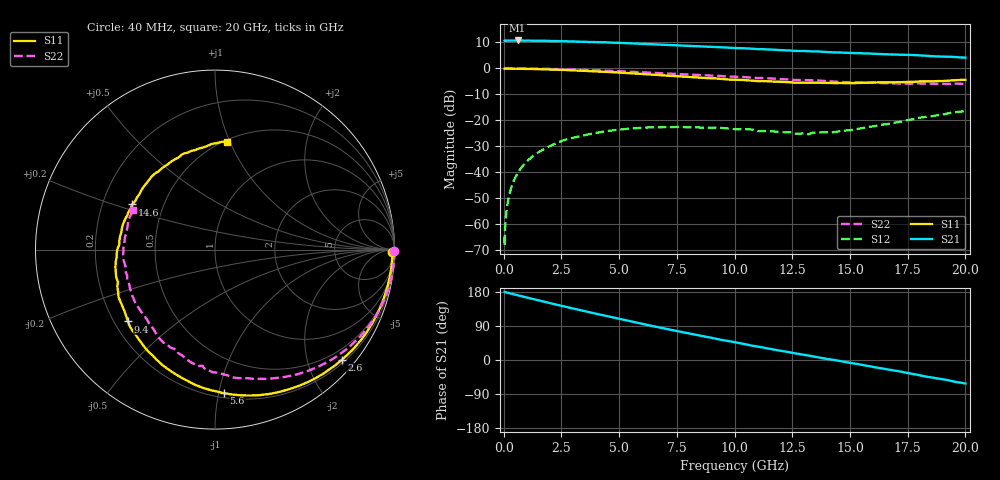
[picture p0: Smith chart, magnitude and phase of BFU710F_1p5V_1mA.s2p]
! Filename:  P:\Prog\Test\Noise\ATS_data\Testdata_Net\BFU710\BFU710_2W_A1_1.5V1mA_D.s2p
! Date/Time: Fri 29/Apr/2011 13:25:27
! BFU710_2W_A1_1.5V1mA
! bias mode 1: Vout= 1.5002 V, Iout= 1.0300 mA, Vin= 0.7839 V, Iin= 0.0031 mA
! Date/time Wed Mar 16 12:51:32 2011
! Device data file deembeded for feedlines and parallel
! Original file: \BFU710\BFU710_2W_A1_1.5V1mA_R.s2p
! Feed-files: PR003V01_101208_Feed1.s2p, PR003V01_101208_Feed2.s2p
! Parallel-file: PR003V01_101208_Par.s2p
# MHz S MA R 50
!  Freq-MHz  S11-mag  S11-arg  S21-mag  S21-arg  S12-mag  S12-arg  S22-mag  S22-arg
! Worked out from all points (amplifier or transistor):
!   167 points, 40 MHz to 20 GHz, reference 50 ohm
!   highest |S21| = 10.8 dB at 600 MHz (marker M1)
!   |S21| within 3 dB of that: start of sweep to 10.41 GHz
!   unconditionally stable (mu >= 1): 9.969 GHz to 19.25 GHz
!   at 550 MHz: K = -0.02, MSG = 25.9 dB, |S12| = -41.1 dB
!   at 4.2 GHz: K = 0.26, MSG = 17.3 dB, |S12| = -24.5 dB
!   at 20 GHz: K = 0.92, MSG = 10.3 dB, |S12| = -16.4 dB
!   S11 on the Smith chart (normalised r, x): 40 MHz: open; 2.6 GHz: 0.27, -2.64; 5.6 GHz: 0.23, -1.04; 9.4 GHz: 0.26, -0.34; 14.6 GHz: 0.33, +0.23; 20 GHz: 0.52, +0.98
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40  0.9889 -0.7  3.42 179.6  0.000592 87.3  0.9997 -0.4
50  0.9852 -1.2  3.435 179.1  0.0003822 101.5  0.9992 -0.5
60  0.9875 -0.8  3.394 178.8  0.0008616 104.0  0.9998 -0.5
90  0.9891 -1.4  3.434 178.5  0.001342 90.7  0.9999 -0.8
220  0.9885 -3.5  3.426 176.7  0.003381 90.4  0.9999 -2.0
600  0.9849 -9.6  3.45 171.0  0.009634 85.9  0.9983 -5.7
1300  0.9737 -20.7  3.401 160.5  0.02116 76.7  0.9908 -12.3
1800  0.9623 -28.6  3.4 153.1  0.02897 70.6  0.9826 -17.1
2600  0.9359 -41.1  3.322 141.6  0.04151 60.7  0.9622 -24.6
3400  0.9053 -53.4  3.26 130.4  0.05105 50.9  0.9389 -31.9
4400  0.8615 -68.5  3.181 116.6  0.06172 40.1  0.9052 -40.6
5600  0.8016 -86.4  3.028 100.5  0.07047 27.5  0.8578 -51.1
6800  0.7409 -103.8  2.868 85.2  0.07436 16.1  0.8105 -61.0
8200  0.6781 -123.4  2.699 68.0  0.0739 6.0  0.7568 -72.5
9400  0.6288 -140.4  2.555 53.4  0.07212 -1.3  0.7155 -82.8
10200  0.6018 -150.8  2.462 44.8  0.06784 -4.0  0.6853 -89.2
11600  0.5638 -169.8  2.306 28.8  0.06205 -5.8  0.6418 -102.3
13400  0.5322 166.9  2.123 9.7  0.05842 2.0  0.5925 -118.8
14600  0.5256 151.4  2.022 -3.2  0.0628 8.7  0.5515 -131.6
16800  0.5403 123.8  1.854 -26.5  0.08747 12.9  0.5156 -157.8
18200  0.5617 105.9  1.77 -42.6  0.1156 6.9  0.5118 -178.1
20000  0.6033 83.5  1.612 -62.1  0.1522 -4.3  0.5049 154.2
